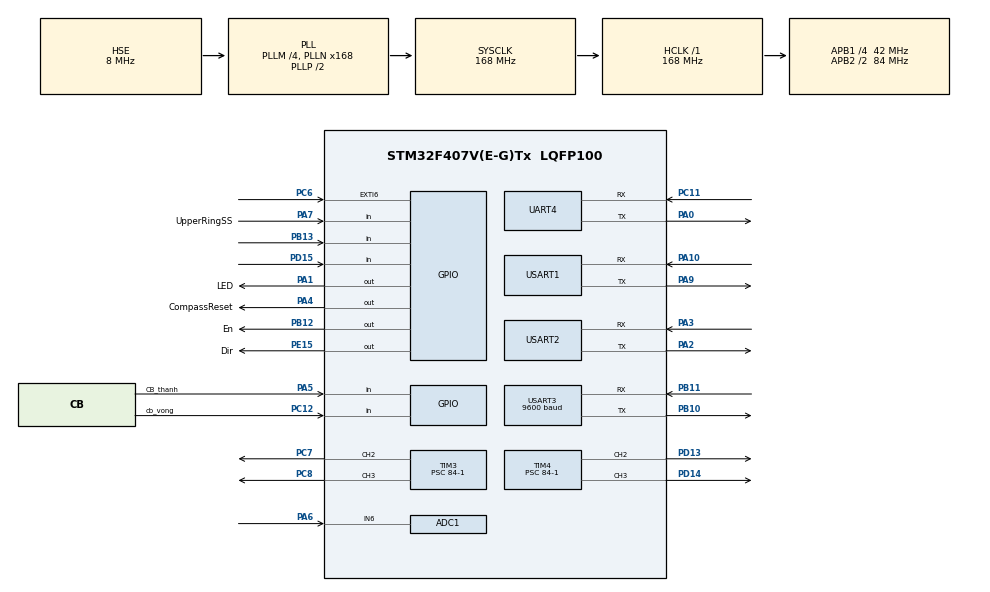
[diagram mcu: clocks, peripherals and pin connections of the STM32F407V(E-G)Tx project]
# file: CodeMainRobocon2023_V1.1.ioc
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ADC1.Channel-1\#ChannelRegularConversion=ADC_CHANNEL_6
ADC1.NbrOfConversionFlag=1
ADC1.Rank-1\#ChannelRegularConversion=1
ADC1.SamplingTime-1\#ChannelRegularConversion=ADC_SAMPLETIME_480CYCLES
ADC1.ScanConvMode=DISABLE
ADC1.master=1
Dma.ADC1.0.Direction=DMA_PERIPH_TO_MEMORY
Dma.ADC1.0.FIFOMode=DMA_FIFOMODE_DISABLE
Dma.ADC1.0.Instance=DMA2_Stream0
Dma.ADC1.0.MemDataAlignment=DMA_MDATAALIGN_HALFWORD
Dma.ADC1.0.MemInc=DMA_MINC_ENABLE
Dma.ADC1.0.Mode=DMA_CIRCULAR
Dma.ADC1.0.PeriphDataAlignment=DMA_PDATAALIGN_HALFWORD
Dma.ADC1.0.PeriphInc=DMA_PINC_DISABLE
Dma.ADC1.0.Priority=DMA_PRIORITY_LOW
Dma.Request0=ADC1
FREERTOS.Tasks01=defaultTask,0,128,StartDefaultTask,Default,NULL,Dynamic,NULL,NULL;myTask03,-3,128,TaskBlinkLed,Default,NULL,Dynamic,NULL,NULL;myTask04,0,128,TaskUART,Default,NULL,Dynamic,NULL,NULL;Task_setting,1,128,TaskXoayLaBan,Default,NULL,Dynamic,NULL,NULL
FREERTOS.configUSE_NEWLIB_REENTRANT=1
Mcu.Family=STM32F4
Mcu.Name=STM32F407V(E-G)Tx
Mcu.Package=LQFP100
NVIC.DMA2_Stream0_IRQn=true\:5\:0\:false\:false\:true\:true\:false\:true\:true
NVIC.EXTI9_5_IRQn=true\:5\:0\:false\:false\:true\:true\:true\:true\:true
NVIC.PriorityGroup=NVIC_PRIORITYGROUP_4
NVIC.TIM2_IRQn=true\:5\:0\:false\:false\:true\:true\:true\:true\:true
NVIC.TIM8_TRG_COM_TIM14_IRQn=true\:15\:0\:false\:false\:true\:false\:false\:true\:true
NVIC.TimeBase=TIM8_TRG_COM_TIM14_IRQn
NVIC.TimeBaseIP=TIM14
NVIC.USART1_IRQn=true\:5\:0\:false\:false\:true\:true\:true\:true\:true
NVIC.USART2_IRQn=true\:5\:0\:false\:false\:true\:true\:true\:true\:true
NVIC.USART3_IRQn=true\:5\:0\:false\:false\:true\:true\:true\:true\:true
PA0-WKUP.Mode=Asynchronous
PA0-WKUP.Signal=UART4_TX
PA1.GPIO_Label=LED
PA1.Signal=GPIO_Output
PA10.Mode=Asynchronous
PA10.Signal=USART1_RX
PA13.Mode=Serial_Wire
PA13.Signal=SYS_JTMS-SWDIO
PA14.Mode=Serial_Wire
PA14.Signal=SYS_JTCK-SWCLK
PA2.Mode=Asynchronous
PA2.Signal=USART2_TX
PA3.Mode=Asynchronous
PA3.Signal=USART2_RX
PA4.GPIO_Label=CompassReset
PA4.Signal=GPIO_Output
PA5.GPIO_Label=CB_thanh
PA5.GPIO_PuPd=GPIO_PULLUP
PA5.Signal=GPIO_Input
PA6.Signal=ADCx_IN6
PA7.GPIO_Label=UpperRingSS
PA7.GPIO_PuPd=GPIO_PULLUP
PA7.Signal=GPIO_Input
PA9.Mode=Asynchronous
PA9.Signal=USART1_TX
PB10.Mode=Asynchronous
PB10.Signal=USART3_TX
PB11.Mode=Asynchronous
PB11.Signal=USART3_RX
PB12.GPIO_Label=En
PB12.Signal=GPIO_Output
PB13.GPIO_PuPd=GPIO_PULLUP
PB13.Signal=GPIO_Input
PC11.Mode=Asynchronous
PC11.Signal=UART4_RX
PC12.GPIO_Label=cb_vong
PC12.GPIO_PuPd=GPIO_PULLUP
PC12.Signal=GPIO_Input
PC6.Signal=GPXTI6
PC7.Signal=S_TIM3_CH2
PC8.Signal=S_TIM3_CH3
PD13.Signal=S_TIM4_CH2
PD14.Signal=S_TIM4_CH3
PD15.Signal=GPIO_Input
PE15.GPIO_Label=Dir
PE15.Signal=GPIO_Output
PH0-OSC_IN.Mode=HSE-External-Oscillator
PH0-OSC_IN.Signal=RCC_OSC_IN
PH1-OSC_OUT.Mode=HSE-External-Oscillator
PH1-OSC_OUT.Signal=RCC_OSC_OUT
ProjectManager.HeapSize=0x200
ProjectManager.StackSize=0x400
ProjectManager.TargetToolchain=STM32CubeIDE
RCC.48MHZClocksFreq_Value=84000000
RCC.AHBFreq_Value=168000000
RCC.APB1CLKDivider=RCC_HCLK_DIV4
RCC.APB1Freq_Value=42000000
RCC.APB1TimFreq_Value=84000000
RCC.APB2CLKDivider=RCC_HCLK_DIV2
RCC.APB2Freq_Value=84000000
RCC.APB2TimFreq_Value=168000000
RCC.CortexFreq_Value=168000000
RCC.HCLKFreq_Value=168000000
RCC.HSE_VALUE=8000000
RCC.HSI_VALUE=16000000
RCC.LSE_VALUE=32768
RCC.PLLM=4
RCC.PLLN=168
RCC.PLLSourceVirtual=RCC_PLLSOURCE_HSE
RCC.SYSCLKFreq_VALUE=168000000
RCC.SYSCLKSource=RCC_SYSCLKSOURCE_PLLCLK
RCC.VCOOutputFreq_Value=336000000
SH.ADCx_IN6.0=ADC1_IN6,IN6
SH.S_TIM3_CH2.0=TIM3_CH2,PWM Generation2 CH2
SH.S_TIM3_CH3.0=TIM3_CH3,PWM Generation3 CH3
SH.S_TIM4_CH2.0=TIM4_CH2,PWM Generation2 CH2
SH.S_TIM4_CH3.0=TIM4_CH3,PWM Generation3 CH3
TIM2.Period=1000-1
TIM2.Prescaler=84-1
TIM3.Channel-PWM\ Generation2\ CH2=TIM_CHANNEL_2
TIM3.Channel-PWM\ Generation3\ CH3=TIM_CHANNEL_3
TIM3.Period=1000-1
TIM3.Prescaler=84-1
TIM4.Channel-PWM\ Generation2\ CH2=TIM_CHANNEL_2
TIM4.Channel-PWM\ Generation3\ CH3=TIM_CHANNEL_3
TIM4.Period=1000-1
TIM4.Prescaler=84-1
UART4.Parity=PARITY_ODD
UART4.VirtualMode=Asynchronous
UART4.WordLength=WORDLENGTH_9B
USART1.Parity=PARITY_EVEN
USART1.VirtualMode=VM_ASYNC
USART1.WordLength=WORDLENGTH_9B
USART2.VirtualMode=VM_ASYNC
USART3.BaudRate=9600
USART3.VirtualMode=VM_ASYNC
VP_FREERTOS_VS_CMSIS_V1.Mode=CMSIS_V1
VP_SYS_VS_tim14.Mode=TIM14
VP_TIM2_VS_ClockSourceINT.Mode=Internal
VP_TIM3_VS_ClockSourceINT.Mode=Internal
VP_TIM4_VS_ClockSourceINT.Mode=Internal
board=custom

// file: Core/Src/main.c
/* USER CODE BEGIN Header */
/**
  ******************************************************************************
  * @file           : main.c
  * @brief          : Main program body
  ******************************************************************************
  * @attention
  *
  * Copyright (c) 2023 STMicroelectronics.
  * All rights reserved.
  *
  * This software is licensed under terms that can be found in the LICENSE file
  * in the root directory of this software component.
  * If no LICENSE file comes with this software, it is provided AS-IS.
  *
  ******************************************************************************
  */
/* USER CODE END Header */
#include "main.h"
#include "cmsis_os.h"

/* USER CODE BEGIN Includes */
#include <stdlib.h>
/* USER CODE END Includes */

/* USER CODE BEGIN PD */
#define MOTORDC_CW 1
#define MOTORDC_CCW -1

/* USER CODE END PD */

ADC_HandleTypeDef hadc1;
DMA_HandleTypeDef hdma_adc1;

TIM_HandleTypeDef htim2;
TIM_HandleTypeDef htim3;
TIM_HandleTypeDef htim4;

UART_HandleTypeDef huart4;
UART_HandleTypeDef huart1;
UART_HandleTypeDef huart2;
UART_HandleTypeDef huart3;

osThreadId defaultTaskHandle;
osThreadId myTask03Handle;
osThreadId myTask04Handle;
osThreadId Task_settingHandle;
/* USER CODE BEGIN PV */

int goc_target;
int goc_hientai;
int forward;
uint8_t stop = 0;
int v_t;

int i,i1,dir3,dir2;
int goc_target2;
int e1;
int e2;
double pre_e2;
double up2,ui2,ui_p2,ud2,udf2,uf2_p;
double u2;
double kp2 = 0.05, kd2 = 2;
long t;
int RotatePid,Dir2;
uint16_t pwm;
/* USER CODE END PV */

void SystemClock_Config(void);
static void MX_GPIO_Init(void);
static void MX_DMA_Init(void);
static void MX_USART1_UART_Init(void);
static void MX_USART2_UART_Init(void);
static void MX_USART3_UART_Init(void);
static void MX_TIM2_Init(void);
static void MX_ADC1_Init(void);
static void MX_UART4_Init(void);
static void MX_TIM3_Init(void);
static void MX_TIM4_Init(void);
void StartDefaultTask(void const * argument);
void TaskBlinkLed(void const * argument);
void TaskUART(void const * argument);
void TaskXoayLaBan(void const * argument);

/* USER CODE BEGIN PFP */

/*G�?i trong  HAL_TIM_PeriodElapsedCallback*/
uint8_t fuzzy;
double alpha;
void Pid_cal(){
	e2 = goc_target2 - goc_hientai;
	if (fuzzy == 0){
		if(goc_target2>=0){
				if((e2<goc_target2*(1/5)))
					{alpha = 0.08;
					kp2 = 0.08;}
				else {
				alpha = 0.9;
				kp2 = 0.9;}
			}else{
				if((e2>goc_target2*(1/5)))
							{alpha = 0.08;
						kp2 = 0.08;}
						else {
						alpha = 0.9;
						kp2 = 0.9;}
			}
	}else if (fuzzy == 1){
		alpha = 0.08;
		kp2 = 0.05;
	}

	    up2 = kp2*e2;
		ud2 = kd2*(e2 - pre_e2)/0.001;
//		ui2 = ui_p2 + ki2*e2*0.001;
		udf2 = (1-alpha)*uf2_p+alpha*ud2;

//		if(ui2>8)ui2=8;
//		else if(ui2<-8)ui2=-8;

		pre_e2 = e2;
		uf2_p = udf2;
//		ui_p2 = ui2;

		if (u2>0)dir2=1;
		else if (u2<0)dir2 = -1;
		u2 = up2 + udf2;
		if (u2> 300)u2 =300;//180
		else if (u2<-300)u2=-300;//-180
		pwm = abs(u2);
		if((pwm < 28)&&(e2!=0)){//85
			pwm = 28;
		}
}
/* USER CODE END PFP */

/* USER CODE BEGIN 0 */

#define RFAddress 0x4A

typedef struct{
	int GamePadStatus;
	int CompassStatus;

//	int PushTime;
} stu_System;

stu_System System;

uint8_t UARTRX2_Buffer[10];
uint8_t UARTRX3_Buffer[9];
uint8_t DataTayGame[9];

int GocRobot;
int GocXoayTarget;
int GocXoayHienTai;

int ModeDangChay;

int DangThucThi;

int DaCapVong;

char ds[12];
uint8_t uart1_ds, ds_ind, ds_cnt, ds_flg;

void GetDataCompass(){
	GocRobot = ds[1] - 48;
	int x = 2;
	while((ds[x] >= 48) && (ds[x] <= 57)){
		GocRobot = GocRobot * 10;
		GocRobot += ds[x] -48;
		++x;
	}

	if(ds[0] == '-'){
		GocRobot = -GocRobot;
	}
}

//char UARTRX1_Buffer[17];
//char DataMain[17];

void HAL_UART_RxCpltCallback(UART_HandleTypeDef *huart){
//	if(huart->Instance == USART1){
//
//	}

	if(huart->Instance == USART2){
//		HAL_UART_Receive_IT(&huart2, (uint8_t*)UARTRX2_Buffer, 10);

		if(uart1_ds != '\n')
				ds[ds_ind++] = uart1_ds;
		else{
				GetDataCompass();
				ds_cnt = ds_ind;
				ds_flg = 1;
				ds_ind = 0;
		}
		HAL_UART_Receive_IT(&huart2, &uart1_ds, 1);
	}

	if(huart->Instance == USART3){
		HAL_UART_Receive_IT(&huart3, (uint8_t*)UARTRX3_Buffer, 9);
		int ViTriData = -1;
		for(int i = 0; i <= 8; ++i){
			if((UARTRX3_Buffer[i] == (RFAddress << 1 | 0)) || (UARTRX3_Buffer[i] == (RFAddress << 1 | 1))){
				ViTriData = i;
			}
		}
		if(ViTriData != -1){
			int cnt = 0;
			while(cnt < 9){
				DataTayGame[cnt] = UARTRX3_Buffer[ViTriData];
				++ViTriData;
				if(ViTriData == 9){
					ViTriData = 0;
				}
				++cnt;
			}
		}
	}
}

uint8_t UART1TxData[17];
/*Hàm truy�?n data xuống cho các board driver*/
int ControlDriver(uint8_t Mode1, int Dir1, uint16_t Speed1, uint16_t Rotate1, uint8_t Mode2, int Dir2, uint16_t Speed2, uint16_t Rotate2, uint8_t Mode3, int Dir3, uint16_t Speed3, uint16_t Rotate3){
	UART1TxData[0] = 149;

	if(Dir1 == -1){
		UART1TxData[1] = (Mode1 & 3) << 1;
	}
	else if(Dir1 == 1){
		UART1TxData[1] = (Mode1 & 3) << 1 | 1;
	}

	UART1TxData[2] = Speed1 >> 8;
	UART1TxData[3] = Speed1;

	UART1TxData[4] = Rotate1 >> 8;
	UART1TxData[5] = Rotate1;

	if(Dir2 == -1){
		UART1TxData[6] = (Mode2 & 3) << 1;
	}
	else if(Dir2 == 1){
		UART1TxData[6] = (Mode2 & 3) << 1 | 1;
	}

	UART1TxData[7] = Speed2 >> 8;
	UART1TxData[8] = Speed2;

	UART1TxData[9] = Rotate2 >> 8;
	UART1TxData[10] = Rotate2;

	if(Dir3 == -1){
		UART1TxData[11] = (Mode3 & 3) << 1;
	}
	else if(Dir3 == 1){
		UART1TxData[11] = (Mode3 & 3) << 1 | 1;
	}

	UART1TxData[12] = Speed3 >> 8;
	UART1TxData[13] = Speed3;

	UART1TxData[14] = Rotate3 >> 8;
	UART1TxData[15] = Rotate3;

	UART1TxData[16] = 10;

	if(HAL_UART_Transmit(&huart1, (uint8_t *) UART1TxData, 17, 1000) != HAL_OK){
		osDelay(1);
		return 0;
	}
	osDelay(1);
	return 1;
}
uint16_t a[10];

//#define YeuCauBanCotS1 24
//
//int ChoPhepBan, ModeBan;

uint8_t DataGun[3];
int ControlGun(uint8_t Mode){
	DataGun[0] = 149;
	DataGun[1] = Mode;
	DataGun[2] = 10;

	if(HAL_UART_Transmit(&huart4, (uint8_t *) DataGun, 3, 1000) != HAL_OK){
		osDelay(1);
		return 0;
	}
	osDelay(1);
	return 1;
}
/* USER CODE END 0 */

int main(void)
{

  /* MCU Configuration--------------------------------------------------------*/

  /* Reset of all peripherals, Initializes the Flash interface and the Systick. */
  HAL_Init();

  /* USER CODE BEGIN Init */
  HAL_Delay(5000);
  GocRobot = -999;

  /* USER CODE END Init */

  /* Configure the system clock */
  SystemClock_Config();

  /* Initialize all configured peripherals */
  MX_GPIO_Init();
  MX_DMA_Init();
  MX_USART1_UART_Init();
  MX_USART2_UART_Init();
  MX_USART3_UART_Init();
  MX_TIM2_Init();
  MX_ADC1_Init();
  MX_UART4_Init();
  MX_TIM3_Init();
  MX_TIM4_Init();
  /* USER CODE BEGIN 2 */
  HAL_TIM_Base_Start_IT(&htim2);
  HAL_TIM_PWM_Start(&htim3,TIM_CHANNEL_2);
  HAL_TIM_PWM_Start(&htim3,TIM_CHANNEL_3);
  HAL_TIM_PWM_Start(&htim4,TIM_CHANNEL_2);
  HAL_TIM_PWM_Start(&htim4,TIM_CHANNEL_3);
  HAL_UART_Receive_IT(&huart2, &uart1_ds, 1);
  //Uart3 Connect to HC-12
  HAL_UART_Receive_IT(&huart3, (uint8_t*)UARTRX3_Buffer, 9);

//  HAL_Delay(100);
//
// while(1){
//	  if(HAL_GPIO_ReadPin(CompassReady_GPIO_Port, CompassReady_Pin)){
//		  HAL_GPIO_WritePin(LED_GPIO_Port, LED_Pin, GPIO_PIN_SET);
//		  System.CompassStatus = 1;
//		  break;
//	  }
//	  HAL_GPIO_WritePin(LED_GPIO_Port, LED_Pin, GPIO_PIN_RESET);
//	  HAL_Delay(200);
//	  HAL_GPIO_WritePin(LED_GPIO_Port, LED_Pin, GPIO_PIN_SET);
//	  HAL_Delay(800);
// }

  /* USER CODE END 2 */

  /* Create the thread(s) */
  /* definition and creation of defaultTask */
  osThreadDef(defaultTask, StartDefaultTask, osPriorityNormal, 0, 128);
  defaultTaskHandle = osThreadCreate(osThread(defaultTask), NULL);

  /* definition and creation of myTask03 */
  osThreadDef(myTask03, TaskBlinkLed, osPriorityIdle, 0, 128);
  myTask03Handle = osThreadCreate(osThread(myTask03), NULL);

  /* definition and creation of myTask04 */
  osThreadDef(myTask04, TaskUART, osPriorityNormal, 0, 128);
  myTask04Handle = osThreadCreate(osThread(myTask04), NULL);

  /* definition and creation of Task_setting */
  osThreadDef(Task_setting, TaskXoayLaBan, osPriorityAboveNormal, 0, 128);
  Task_settingHandle = osThreadCreate(osThread(Task_setting), NULL);

  /* Start scheduler */
  osKernelStart();

  /* We should never get here as control is now taken by the scheduler */
  /* Infinite loop */
  /* USER CODE BEGIN WHILE */
//  ControlDriver(0, 0, 0, 0, 0);

  while (1)
  {

    /* USER CODE END WHILE */

  }
}

void SystemClock_Config(void)
{
  RCC_OscInitTypeDef RCC_OscInitStruct = {0};
  RCC_ClkInitTypeDef RCC_ClkInitStruct = {0};

  /** Configure the main internal regulator output voltage
  */
  __HAL_RCC_PWR_CLK_ENABLE();
  __HAL_PWR_VOLTAGESCALING_CONFIG(PWR_REGULATOR_VOLTAGE_SCALE1);

  /** Initializes the RCC Oscillators according to the specified parameters
  * in the RCC_OscInitTypeDef structure.
  */
  RCC_OscInitStruct.OscillatorType = RCC_OSCILLATORTYPE_HSE;
  RCC_OscInitStruct.HSEState = RCC_HSE_ON;
  RCC_OscInitStruct.PLL.PLLState = RCC_PLL_ON;
  RCC_OscInitStruct.PLL.PLLSource = RCC_PLLSOURCE_HSE;
  RCC_OscInitStruct.PLL.PLLM = 4;
  RCC_OscInitStruct.PLL.PLLN = 168;
  RCC_OscInitStruct.PLL.PLLP = RCC_PLLP_DIV2;
  RCC_OscInitStruct.PLL.PLLQ = 4;
  if (HAL_RCC_OscConfig(&RCC_OscInitStruct) != HAL_OK)
  {
    Error_Handler();
  }

  /** Initializes the CPU, AHB and APB buses clocks
  */
  RCC_ClkInitStruct.ClockType = RCC_CLOCKTYPE_HCLK|RCC_CLOCKTYPE_SYSCLK
                              |RCC_CLOCKTYPE_PCLK1|RCC_CLOCKTYPE_PCLK2;
  RCC_ClkInitStruct.SYSCLKSource = RCC_SYSCLKSOURCE_PLLCLK;
  RCC_ClkInitStruct.AHBCLKDivider = RCC_SYSCLK_DIV1;
  RCC_ClkInitStruct.APB1CLKDivider = RCC_HCLK_DIV4;
  RCC_ClkInitStruct.APB2CLKDivider = RCC_HCLK_DIV2;

  if (HAL_RCC_ClockConfig(&RCC_ClkInitStruct, FLASH_LATENCY_5) != HAL_OK)
  {
    Error_Handler();
  }
}

static void MX_ADC1_Init(void)
{

  ADC_ChannelConfTypeDef sConfig = {0};

  /** Configure the global features of the ADC (Clock, Resolution, Data Alignment and number of conversion)
  */
  hadc1.Instance = ADC1;
  hadc1.Init.ClockPrescaler = ADC_CLOCK_SYNC_PCLK_DIV4;
  hadc1.Init.Resolution = ADC_RESOLUTION_12B;
  hadc1.Init.ScanConvMode = DISABLE;
  hadc1.Init.ContinuousConvMode = DISABLE;
  hadc1.Init.DiscontinuousConvMode = DISABLE;
  hadc1.Init.ExternalTrigConvEdge = ADC_EXTERNALTRIGCONVEDGE_NONE;
  hadc1.Init.ExternalTrigConv = ADC_SOFTWARE_START;
  hadc1.Init.DataAlign = ADC_DATAALIGN_RIGHT;
  hadc1.Init.NbrOfConversion = 1;
  hadc1.Init.DMAContinuousRequests = DISABLE;
  hadc1.Init.EOCSelection = ADC_EOC_SINGLE_CONV;
  if (HAL_ADC_Init(&hadc1) != HAL_OK)
  {
    Error_Handler();
  }

  /** Configure for the selected ADC regular channel its corresponding rank in the sequencer and its sample time.
  */
  sConfig.Channel = ADC_CHANNEL_6;
  sConfig.Rank = 1;
  sConfig.SamplingTime = ADC_SAMPLETIME_480CYCLES;
  if (HAL_ADC_ConfigChannel(&hadc1, &sConfig) != HAL_OK)
  {
    Error_Handler();
  }

}

static void MX_TIM2_Init(void)
{

  TIM_ClockConfigTypeDef sClockSourceConfig = {0};
  TIM_MasterConfigTypeDef sMasterConfig = {0};

  htim2.Instance = TIM2;
  htim2.Init.Prescaler = 84-1;
  htim2.Init.CounterMode = TIM_COUNTERMODE_UP;
  htim2.Init.Period = 1000-1;
  htim2.Init.ClockDivision = TIM_CLOCKDIVISION_DIV1;
  htim2.Init.AutoReloadPreload = TIM_AUTORELOAD_PRELOAD_DISABLE;
  if (HAL_TIM_Base_Init(&htim2) != HAL_OK)
  {
    Error_Handler();
  }
  sClockSourceConfig.ClockSource = TIM_CLOCKSOURCE_INTERNAL;
  if (HAL_TIM_ConfigClockSource(&htim2, &sClockSourceConfig) != HAL_OK)
  {
    Error_Handler();
  }
  sMasterConfig.MasterOutputTrigger = TIM_TRGO_RESET;
  sMasterConfig.MasterSlaveMode = TIM_MASTERSLAVEMODE_DISABLE;
  if (HAL_TIMEx_MasterConfigSynchronization(&htim2, &sMasterConfig) != HAL_OK)
  {
    Error_Handler();
  }

}

static void MX_TIM3_Init(void)
{

  TIM_ClockConfigTypeDef sClockSourceConfig = {0};
  TIM_MasterConfigTypeDef sMasterConfig = {0};
  TIM_OC_InitTypeDef sConfigOC = {0};

  htim3.Instance = TIM3;
  htim3.Init.Prescaler = 84-1;
  htim3.Init.CounterMode = TIM_COUNTERMODE_UP;
  htim3.Init.Period = 1000-1;
  htim3.Init.ClockDivision = TIM_CLOCKDIVISION_DIV1;
  htim3.Init.AutoReloadPreload = TIM_AUTORELOAD_PRELOAD_DISABLE;
  if (HAL_TIM_Base_Init(&htim3) != HAL_OK)
  {
    Error_Handler();
  }
  sClockSourceConfig.ClockSource = TIM_CLOCKSOURCE_INTERNAL;
  if (HAL_TIM_ConfigClockSource(&htim3, &sClockSourceConfig) != HAL_OK)
  {
    Error_Handler();
  }
  if (HAL_TIM_PWM_Init(&htim3) != HAL_OK)
  {
    Error_Handler();
  }
  sMasterConfig.MasterOutputTrigger = TIM_TRGO_RESET;
  sMasterConfig.MasterSlaveMode = TIM_MASTERSLAVEMODE_DISABLE;
  if (HAL_TIMEx_MasterConfigSynchronization(&htim3, &sMasterConfig) != HAL_OK)
  {
    Error_Handler();
  }
  sConfigOC.OCMode = TIM_OCMODE_PWM1;
  sConfigOC.Pulse = 0;
  sConfigOC.OCPolarity = TIM_OCPOLARITY_HIGH;
  sConfigOC.OCFastMode = TIM_OCFAST_DISABLE;
  if (HAL_TIM_PWM_ConfigChannel(&htim3, &sConfigOC, TIM_CHANNEL_2) != HAL_OK)
  {
    Error_Handler();
  }
  if (HAL_TIM_PWM_ConfigChannel(&htim3, &sConfigOC, TIM_CHANNEL_3) != HAL_OK)
  {
    Error_Handler();
  }
  HAL_TIM_MspPostInit(&htim3);

}

static void MX_TIM4_Init(void)
{

  TIM_ClockConfigTypeDef sClockSourceConfig = {0};
  TIM_MasterConfigTypeDef sMasterConfig = {0};
  TIM_OC_InitTypeDef sConfigOC = {0};

  htim4.Instance = TIM4;
  htim4.Init.Prescaler = 84-1;
  htim4.Init.CounterMode = TIM_COUNTERMODE_UP;
  htim4.Init.Period = 1000-1;
  htim4.Init.ClockDivision = TIM_CLOCKDIVISION_DIV1;
  htim4.Init.AutoReloadPreload = TIM_AUTORELOAD_PRELOAD_DISABLE;
  if (HAL_TIM_Base_Init(&htim4) != HAL_OK)
  {
    Error_Handler();
  }
  sClockSourceConfig.ClockSource = TIM_CLOCKSOURCE_INTERNAL;
  if (HAL_TIM_ConfigClockSource(&htim4, &sClockSourceConfig) != HAL_OK)
  {
    Error_Handler();
  }
  if (HAL_TIM_PWM_Init(&htim4) != HAL_OK)
  {
    Error_Handler();
  }
  sMasterConfig.MasterOutputTrigger = TIM_TRGO_RESET;
  sMasterConfig.MasterSlaveMode = TIM_MASTERSLAVEMODE_DISABLE;
  if (HAL_TIMEx_MasterConfigSynchronization(&htim4, &sMasterConfig) != HAL_OK)
  {
    Error_Handler();
  }
  sConfigOC.OCMode = TIM_OCMODE_PWM1;
  sConfigOC.Pulse = 0;
  sConfigOC.OCPolarity = TIM_OCPOLARITY_HIGH;
  sConfigOC.OCFastMode = TIM_OCFAST_DISABLE;
  if (HAL_TIM_PWM_ConfigChannel(&htim4, &sConfigOC, TIM_CHANNEL_2) != HAL_OK)
  {
    Error_Handler();
  }
  if (HAL_TIM_PWM_ConfigChannel(&htim4, &sConfigOC, TIM_CHANNEL_3) != HAL_OK)
  {
    Error_Handler();
  }
  HAL_TIM_MspPostInit(&htim4);

}

static void MX_UART4_Init(void)
{

  huart4.Instance = UART4;
  huart4.Init.BaudRate = 115200;
  huart4.Init.WordLength = UART_WORDLENGTH_9B;
  huart4.Init.StopBits = UART_STOPBITS_1;
  huart4.Init.Parity = UART_PARITY_ODD;
  huart4.Init.Mode = UART_MODE_TX_RX;
  huart4.Init.HwFlowCtl = UART_HWCONTROL_NONE;
  huart4.Init.OverSampling = UART_OVERSAMPLING_16;
  if (HAL_UART_Init(&huart4) != HAL_OK)
  {
    Error_Handler();
  }

}

static void MX_USART1_UART_Init(void)
{

  huart1.Instance = USART1;
  huart1.Init.BaudRate = 115200;
  huart1.Init.WordLength = UART_WORDLENGTH_9B;
  huart1.Init.StopBits = UART_STOPBITS_1;
  huart1.Init.Parity = UART_PARITY_EVEN;
  huart1.Init.Mode = UART_MODE_TX_RX;
  huart1.Init.HwFlowCtl = UART_HWCONTROL_NONE;
  huart1.Init.OverSampling = UART_OVERSAMPLING_16;
  if (HAL_UART_Init(&huart1) != HAL_OK)
  {
    Error_Handler();
  }

}

static void MX_USART2_UART_Init(void)
{

  huart2.Instance = USART2;
  huart2.Init.BaudRate = 115200;
  huart2.Init.WordLength = UART_WORDLENGTH_8B;
  huart2.Init.StopBits = UART_STOPBITS_1;
  huart2.Init.Parity = UART_PARITY_NONE;
  huart2.Init.Mode = UART_MODE_TX_RX;
  huart2.Init.HwFlowCtl = UART_HWCONTROL_NONE;
  huart2.Init.OverSampling = UART_OVERSAMPLING_16;
  if (HAL_UART_Init(&huart2) != HAL_OK)
  {
    Error_Handler();
  }

}

static void MX_USART3_UART_Init(void)
{

  huart3.Instance = USART3;
  huart3.Init.BaudRate = 9600;
  huart3.Init.WordLength = UART_WORDLENGTH_8B;
  huart3.Init.StopBits = UART_STOPBITS_1;
  huart3.Init.Parity = UART_PARITY_NONE;
  huart3.Init.Mode = UART_MODE_TX_RX;
  huart3.Init.HwFlowCtl = UART_HWCONTROL_NONE;
  huart3.Init.OverSampling = UART_OVERSAMPLING_16;
  if (HAL_UART_Init(&huart3) != HAL_OK)
  {
    Error_Handler();
  }

}

static void MX_DMA_Init(void)
{

  /* DMA controller clock enable */
  __HAL_RCC_DMA2_CLK_ENABLE();

  /* DMA interrupt init */
  /* DMA2_Stream0_IRQn interrupt configuration */
  HAL_NVIC_SetPriority(DMA2_Stream0_IRQn, 5, 0);
  HAL_NVIC_EnableIRQ(DMA2_Stream0_IRQn);

}

static void MX_GPIO_Init(void)
{
  GPIO_InitTypeDef GPIO_InitStruct = {0};

  /* GPIO Ports Clock Enable */
  __HAL_RCC_GPIOH_CLK_ENABLE();
  __HAL_RCC_GPIOA_CLK_ENABLE();
  __HAL_RCC_GPIOE_CLK_ENABLE();
  __HAL_RCC_GPIOB_CLK_ENABLE();
  __HAL_RCC_GPIOD_CLK_ENABLE();
  __HAL_RCC_GPIOC_CLK_ENABLE();

  /*Configure GPIO pin Output Level */
  HAL_GPIO_WritePin(GPIOA, LED_Pin|CompassReset_Pin, GPIO_PIN_RESET);

  /*Configure GPIO pin Output Level */
  HAL_GPIO_WritePin(Dir_GPIO_Port, Dir_Pin, GPIO_PIN_RESET);

  /*Configure GPIO pin Output Level */
  HAL_GPIO_WritePin(En_GPIO_Port, En_Pin, GPIO_PIN_RESET);

  /*Configure GPIO pins : LED_Pin CompassReset_Pin */
  GPIO_InitStruct.Pin = LED_Pin|CompassReset_Pin;
  GPIO_InitStruct.Mode = GPIO_MODE_OUTPUT_PP;
  GPIO_InitStruct.Pull = GPIO_NOPULL;
  GPIO_InitStruct.Speed = GPIO_SPEED_FREQ_LOW;
  HAL_GPIO_Init(GPIOA, &GPIO_InitStruct);

  /*Configure GPIO pins : CB_thanh_Pin UpperRingSS_Pin */
  GPIO_InitStruct.Pin = CB_thanh_Pin|UpperRingSS_Pin;
  GPIO_InitStruct.Mode = GPIO_MODE_INPUT;
  GPIO_InitStruct.Pull = GPIO_PULLUP;
  HAL_GPIO_Init(GPIOA, &GPIO_InitStruct);

  /*Configure GPIO pin : Dir_Pin */
  GPIO_InitStruct.Pin = Dir_Pin;
  GPIO_InitStruct.Mode = GPIO_MODE_OUTPUT_PP;
  GPIO_InitStruct.Pull = GPIO_NOPULL;
  GPIO_InitStruct.Speed = GPIO_SPEED_FREQ_LOW;
  HAL_GPIO_Init(Dir_GPIO_Port, &GPIO_InitStruct);

  /*Configure GPIO pin : En_Pin */
  GPIO_InitStruct.Pin = En_Pin;
  GPIO_InitStruct.Mode = GPIO_MODE_OUTPUT_PP;
  GPIO_InitStruct.Pull = GPIO_NOPULL;
  GPIO_InitStruct.Speed = GPIO_SPEED_FREQ_LOW;
  HAL_GPIO_Init(En_GPIO_Port, &GPIO_InitStruct);

  /*Configure GPIO pin : PB13 */
  GPIO_InitStruct.Pin = GPIO_PIN_13;
  GPIO_InitStruct.Mode = GPIO_MODE_INPUT;
  GPIO_InitStruct.Pull = GPIO_PULLUP;
  HAL_GPIO_Init(GPIOB, &GPIO_InitStruct);

  /*Configure GPIO pin : PD15 */
  GPIO_InitStruct.Pin = GPIO_PIN_15;
  GPIO_InitStruct.Mode = GPIO_MODE_INPUT;
  GPIO_InitStruct.Pull = GPIO_NOPULL;
  HAL_GPIO_Init(GPIOD, &GPIO_InitStruct);

  /*Configure GPIO pin : PC6 */
  GPIO_InitStruct.Pin = GPIO_PIN_6;
  GPIO_InitStruct.Mode = GPIO_MODE_IT_RISING;
  GPIO_InitStruct.Pull = GPIO_NOPULL;
  HAL_GPIO_Init(GPIOC, &GPIO_InitStruct);

  /*Configure GPIO pin : cb_vong_Pin */
  GPIO_InitStruct.Pin = cb_vong_Pin;
  GPIO_InitStruct.Mode = GPIO_MODE_INPUT;
  GPIO_InitStruct.Pull = GPIO_PULLUP;
  HAL_GPIO_Init(cb_vong_GPIO_Port, &GPIO_InitStruct);

  /* EXTI interrupt init*/
  HAL_NVIC_SetPriority(EXTI9_5_IRQn, 5, 0);
  HAL_NVIC_EnableIRQ(EXTI9_5_IRQn);

}

/* USER CODE BEGIN 4 */
uint8_t DangThucThi2;
int pre_t = -88;
//void HAL_GPIO_EXTI_Callback(uint16_t GPIO_Pin)
//{
//  if(GPIO_Pin == cb_vong_Pin){
//	  int cambien;
//  }
//}
void batthanh(void){
	v_t = 55;
	forward = 2;

	while(1){

		if(HAL_GPIO_ReadPin(CB_thanh_GPIO_Port, CB_thanh_Pin)==0){
			v_t = 0;
			osDelay(1000);

			forward = 0;
			RotatePid = 0;
			ControlDriver(0, 1, 0, 600, 0, 1, 0, 600, 0, 1, 0, 600);
			return;
		}
		osDelay(1);
	}
}
uint8_t antinoise;
void batcot(void){
	while(1){
		if(DataTayGame[2] == 128 && !DangThucThi2){
				pre_t += 2;
				DangThucThi2 =1;
				}
				if(DataTayGame[2] == 32 && !DangThucThi2){
				pre_t -= 2;
				DangThucThi2 =1;
				}
				if(DataTayGame[2] == 0){
				DangThucThi2 = 0;
				}
				goc_target = pre_t;
			if(a[0]>2000&&a[0]<3300){
				antinoise ++;
			}
				if(antinoise > 20){
					v_t = 0;
					osDelay(1000);
					forward = 0;
					RotatePid = 0;

					return;
					}
			}

			osDelay(1);
}

void batvong(void){
	while(1){
		if(HAL_GPIO_ReadPin(cb_vong_GPIO_Port, cb_vong_Pin)==0){
			v_t = 0;
			osDelay(1000);
			forward = 0;
			RotatePid = 0;
			return;
		}
	}
}
int gun;
double e9,pre_e9;
double current_value9;
int POS_target = 0;
double deltaT9 = 0.001; // Th�?i gian lấy mẫu

double kp9 = 1.5,ki9 =0.0001, kd9 =0.5;

// Khai biến khâu tỉ lệ
double up9;

// khai biến khâu tích phân
double ui9,ui_p9;
int ui_above_limit9=0.3,ui_under_limit9=-0.3;

// khai biến khâu đạo hàm
double ud9,udf9,udf_p9;
double alpha9 = 0.4; // Hệ số bộ l�?c

// khai biến output
double u9;
int u_above_limit9 = 1000,u_under_limit9 = -1000;
int dir9,pwm9,pwm_movable9= 600;

uint8_t cambien;
int count1;
void HAL_GPIO_EXTI_Callback(uint16_t GPIO_Pin)
{
	//Encoder DC-SPEED
	if (GPIO_Pin == GPIO_PIN_6){
		if (HAL_GPIO_ReadPin(GPIOD,GPIO_PIN_15) == 0) {count1++;}
		else {count1--;}
	}
}
void PID(){

	// khoảng cần đáp ứng của hệ thống
	e9 = POS_target - count1;

	// Khâu tỉ lệ
	up9 = kp9*e9;

	// khâu tích phân
	ui9 = ui_p9 + ki9*e9*deltaT9;
	// Bão hòa khâu tích phân
	if (ui9>ui_above_limit9)ui9=ui_above_limit9;
	else if(ui9<ui_under_limit9)ui9=ui_under_limit9;

	// khâu đạo hàm
	ud9 = kd9*(e9 - pre_e9)/deltaT9;
	// L�?c thông thấp khâu đạo hàm
	udf9 = (1-alpha)*udf_p9+alpha9*ud9;

	pre_e9 = e9;
	ui_p9 = ui9;
	udf_p9 = udf9;

	// Tổng out put
	u9 = up9 + udf9+ui9;
	// Bão hòa output
	if(u9>u_above_limit9)u9 = u_above_limit9;
	else if (u9<u_under_limit9)u9=u_under_limit9;

	// Xác định chi�?u:
	if (u9>0)dir9=-1;
	else if(u9<0)dir9 = 1;
	else dir9 = 0;

	// Xuất giá trị pwm
	pwm9 = abs(u9);
	if ((pwm9<pwm_movable9)&&(e9!=0)){
		pwm9 = pwm_movable9;

	}
}

void ControlMotor(int ChannelA, int ChannelB){
	__HAL_TIM_SET_COMPARE(&htim4, TIM_CHANNEL_2, ChannelA);
	__HAL_TIM_SET_COMPARE(&htim4, TIM_CHANNEL_3, ChannelB);
}
//Ham cap xung cho dong co
void driveSpeed(int dir , int pwmVal){
	if (dir == -1){
		ControlMotor(pwmVal,0);
	}
	else if (dir == 1){
		ControlMotor(0,pwmVal);
	}
	else{
		ControlMotor(0,0);
	}
}

int pwmVal, up, manual_rpm,s1,s2;
int currentAngle; // goc hien tai
int numstep; //so buoc can di
int pre_angle;
int angle;//goc can huong toi 810
int break_step;
int n, x;

void driveSpeed_tail(int dir , int pwmVal){
	if (dir == MOTORDC_CCW){
		__HAL_TIM_SET_COMPARE(&htim3, TIM_CHANNEL_3, pwmVal);
		__HAL_TIM_SET_COMPARE(&htim3, TIM_CHANNEL_2, 0);
	}
	else if (dir == MOTORDC_CW){
		__HAL_TIM_SET_COMPARE(&htim3, TIM_CHANNEL_3, 0);
		__HAL_TIM_SET_COMPARE(&htim3, TIM_CHANNEL_2, pwmVal);
	}
	else{
		__HAL_TIM_SET_COMPARE(&htim3, TIM_CHANNEL_3, 0);
		__HAL_TIM_SET_COMPARE(&htim3, TIM_CHANNEL_2, 0);
	}
}

void driveStep(){
	int n =0;
	// 900
	while(currentAngle != angle){
		if( currentAngle < angle){
			HAL_GPIO_WritePin(Dir_GPIO_Port, Dir_Pin, 0);
			n = angle - currentAngle;
		}
		else if( currentAngle > angle){
			HAL_GPIO_WritePin(Dir_GPIO_Port, Dir_Pin, 1);
			n = currentAngle - angle;
		}
		for(int x = 0; x < n; x++) {
			HAL_GPIO_WritePin(En_GPIO_Port, En_Pin, 1);
			osDelay(1);
			HAL_GPIO_WritePin(En_GPIO_Port, En_Pin, 0);
			osDelay(1);
		}

		currentAngle = angle;
	}
}

uint8_t moveup;
uint8_t gunReady;
uint16_t max_speed = 400;
void upHandle(void){
	driveSpeed_tail(MOTORDC_CW, max_speed);
	while(1){
	  if(!HAL_GPIO_ReadPin(UpperRingSS_GPIO_Port, UpperRingSS_Pin)){
		  driveSpeed_tail(1, 0);
		  osDelay(100);
		  up = 0;
		  moveup = 1;
		  break;
	  }
	}
}
void uphalf(void){
	driveSpeed_tail(MOTORDC_CW, max_speed);
	osDelay(4000);
	driveSpeed_tail(MOTORDC_CW, 0);
	up = 0;

}
void downHandle(void){
	driveSpeed_tail(MOTORDC_CCW,max_speed);
	while(1)
		if(HAL_GPIO_ReadPin(GPIOB, GPIO_PIN_13) == 1){
			driveSpeed_tail(1,0);
			up = 0;
			break;
		}

}

void loadingProcess(void){
	upHandle();
	if(moveup){
		angle = 950;
		driveStep();
		moveup = 0;
		angle  = 0;
		driveStep();
		gunReady = 1;
	}
}
uint8_t step;
uint8_t trangthai,trangthai2,switchmode;

/* USER CODE END 4 */

int ii;
void StartDefaultTask(void const * argument)
{
  /* USER CODE BEGIN 5 */
  /* Infinite loop */
  for(;;)
  {
//	  HAL_ADC_Start_DMA(&hadc1, (uint32_t*)a, 1);
//	  osDelay(5);
cambien = HAL_GPIO_ReadPin(cb_vong_GPIO_Port, cb_vong_Pin);

		if(DataTayGame[1]== 128&&DataTayGame[2]==0){
			RotatePid = 0;
			forward = 0;
			ControlDriver(0, 1, 0, 400, 0, 1, 0, 200, 0, 1, 0, 300);
			osDelay(1000);
			loadingProcess();

			if(gunReady){
			ControlGun(1);
			gunReady = 0;
			}
		}
		if(DataTayGame[1]== 64&&DataTayGame[2]==0){
			RotatePid = 0;
			forward = 0;
			ControlDriver(0, 1, 0, 400, 0, 1, 0, 200, 0, 1, 0, 300);
			osDelay(1000);
			loadingProcess();
			RotatePid = 0;
			if(gunReady){
			ControlGun(2);
			gunReady = 0;
			}
		}
		if(DataTayGame[1]== 32&&DataTayGame[2]==0){
			RotatePid = 0;
			forward = 0;
			ControlDriver(0, 1, 0, 400, 0, 1, 0, 200, 0, 1, 0, 300);
			osDelay(1000);
			loadingProcess();
			RotatePid = 0;
			if(gunReady){
			ControlGun(3);
			gunReady = 0;
			}
		}if(DataTayGame[1]== 4&&DataTayGame[2]==0){
			RotatePid = 0;
			forward = 0;
			ControlDriver(0, 1, 0, 400, 0, 1, 0, 200, 0, 1, 0, 300);
			osDelay(1000);
			loadingProcess();
			RotatePid = 0;
			if(gunReady){
			ControlGun(6);
			gunReady = 0;
			}
		}

		if(DataTayGame[1]== 0&&DataTayGame[2]==64){
			osDelay(20);
			if(DataTayGame[1]== 0&&DataTayGame[2]==64){
			switchmode += 1;
			fuzzy = 0;
			if (switchmode >3)switchmode = 0;
			while((DataTayGame[1]== 0&&DataTayGame[2]==64)){}
			}
		}

//lmao
	  /*Nhấn nút F1*/
	  if(DataTayGame[7] == 128 && !DangThucThi){
		  step = 0;
		  if(trangthai == 0){
			  up = 2;
		  }
		  else if(trangthai == 1){
			  up = 3;
			  forward = 0;
			  RotatePid = 0;
			  ControlDriver(0, 1, 0, 300, 0, 1, 0, 300, 0, 1, 0, 300);
			  osDelay(4500);

			  // #2 chay thang trong 3.8s
			  goc_target = 6;
			  forward = 1;
			  v_t = 140;
			  osDelay(8200);
			  // #3 thang gap trong 550ms
			  v_t = 0;
			  osDelay(500);
			  forward = 0;
			  RotatePid = 0;
			  // #4 tha troi trong 3s
			  ControlDriver(0, 1, 0, (300-2*e1), 0, 1, 0, (300-2*e1), 0, 1, 0, (300+2*e1));
			  osDelay(1000);
			  ControlDriver(0, 1, 0, (300), 0, 1, 0, (300), 0, 1, 0, (300));
			  osDelay(2000);
			  // #5 quay 20 do
			  ControlDriver(0, 1, 0, (200), 0, 1, 0, (400), 0, 1, 0, (600));
			  osDelay(2000);
			  goc_target2 = -45;//-30

			  RotatePid = 1;
		  }
		  else if (trangthai == 2){

		  			  forward = 0;
		  			  RotatePid = 0;
		  			  POS_target = -500;

		  		  }
		  else if (trangthai == 3){

			  forward = 0;
			  RotatePid = 0;
			  up = 2;

		  }
		  else if (trangthai == 4){
			  forward = 0;
			  RotatePid = 0;
			  ControlDriver(0, 1, 0, 300, 0, 1, 0, 300, 0, 1, 0, 300);
			  osDelay(1000);
			  goc_target = GocRobot;//-30
			  forward = 1;
			  v_t = 20;
			  batvong();
		      POS_target = -40;
		      osDelay(1000);
		      forward = 1;
		      v_t = 25;
		      osDelay(1000);
		      v_t = 0;

		  }
		  else if (trangthai == 5){
			  up = 3;
		  }
		  trangthai++;
		  DangThucThi = 1;
	  }

////
	  /*Nhấn nút F2*/
	  if(DataTayGame[7] == 64 && !DangThucThi){
		  if(trangthai2==0){
			  POS_target = count1;
			step = 1;
			//#1 quay goc on dinh banh xe trong 2s
			forward = 0;
			RotatePid = 0;
			ControlDriver(0, 1, 0, 200, 0, -1, 0, 400, 0, 1, 0, 600);
			osDelay(1000);
			//#2 quay goc trong 8s
			goc_target2 = -90;
			RotatePid = 1;
		  }

		  else if(trangthai2 == 1){
			//#3 quay goc on donh banh xe trong 2s
			RotatePid = 0;
			ControlDriver(0, 1, 0, 74, 0, 1, 0, 74, 0, 1, 0, 74);
			osDelay(2000);
			//#4 chay theo goc -90
			goc_target = GocRobot;
			batthanh();
			goc_target2 = -90;
			RotatePid = 1;
			}
			trangthai2 ++;
			DangThucThi = 1;
		}
////
////	  /*Nhấn nút F3*/
	if(DataTayGame[7] == 32 && !DangThucThi){
		step = 2;
		forward = 0;
		RotatePid = 0;
        goc_target = -90;
		ControlDriver(0, 1, 0, 600, 0, 1, 0, 600, 0, 1, 0, 600);
		osDelay(2000);
		goc_target = pre_t;
		v_t = 35;
		forward = 3 ;
		osDelay(2000);
		batcot();
		ControlDriver(0, 1, 0, 600, 0, 1, 0, 600, 0, 1, 0, 600);
		 antinoise = 0;
		DangThucThi = 1;
	}
////
//	  /*Nhấn nút F4*/
		if(DataTayGame[7] == 16 && !DangThucThi){
			if(switchmode == 0){
			forward = 0;
			RotatePid = 0;
			ControlDriver(0, 1, 0, 600, 0, 1, 0, 600, 0, 1, 0, 600);
			osDelay(1000);
			goc_target = pre_t;
			v_t = 22;
			forward = 3 ;
			osDelay(800);
			v_t = 0;
			}
			else if(switchmode == 1){
				fuzzy = 1;
				forward = 0;
				RotatePid = 0;
				ControlDriver(0, 1, 0, 200, 0, -1, 0, 400, 0, 1, 0, 600);
				osDelay(1000);
				goc_target2 +=1;
				RotatePid = 1;
			}
			else if (switchmode == 2){
				forward = 0;
				RotatePid = 0;
				ControlDriver(0, 1, 0, 300, 0, 1, 0, 300, 0, 1, 0, 300);
				osDelay(1000);
				goc_target = pre_t;
				v_t = 22;
				forward = 5 ;
				osDelay(800);
				v_t = 0;

			}

			DangThucThi = 1;
		}
//

	  /*Nhấn nút F5*/
	  if(DataTayGame[7] == 8 && !DangThucThi){
		  ControlDriver(0, 1, 0, 200, 0, -1, 0, 400, 0, 1, 0, 600);
		  forward =0 ;
		  RotatePid = 0;
		  ii++;
		  if(ii>2){ii = 1;}
		  if(ii%2 == 1){RotatePid = 0;}
		  else if(ii == 2){goc_target2 = -20; pre_t = -20;}
		  RotatePid = 1;

	  	  DangThucThi = 1;
	  }
//
	  /*Nhấn nút F8*/
	  if(DataTayGame[7] == 4 && !DangThucThi){
		  if(switchmode == 0){
			forward = 0;
			RotatePid = 0;
			ControlDriver(0, 1, 0, 600, 0, 1, 0, 600, 0, 1, 0, 600);
			osDelay(1000);
			goc_target = pre_t;
			v_t = 22;
			forward = 4 ;
			osDelay(800);
			v_t = 0;
		  }else if(switchmode == 1){
			  	fuzzy = 1;
				forward = 0;
				RotatePid = 0;
				ControlDriver(0, 1, 0, 200, 0, -1, 0, 400, 0, 1, 0, 600);
				goc_target2 -=1;
				RotatePid = 1;
			}
		  else if (switchmode == 2){
				forward = 0;
				RotatePid = 0;
				ControlDriver(0, 1, 0, 300, 0, 1, 0, 300, 0, 1, 0, 300);
				osDelay(1000);
				goc_target = pre_t;
				v_t = 22;
				forward = 1 ;
				osDelay(800);
				v_t = 0;
			}

		  DangThucThi = 1;
	  }

	  if(DataTayGame[7] == 0){
		  DangThucThi = 0;
	  }

	  osDelay(1);
  }
  /* USER CODE END 5 */
}

void TaskBlinkLed(void const * argument)
{
  /* USER CODE BEGIN TaskBlinkLed */

  /* Infinite loop */
  for(;;)
  {
//	  System.CompassStatus = HAL_GPIO_ReadPin(CompassReady_GPIO_Port, CompassReady_Pin);
	  if(GocRobot != -999){
		  System.CompassStatus = 1;
		  HAL_GPIO_TogglePin(LED_GPIO_Port, LED_Pin);
		  osDelay(50);
	  }
	  else {
		  System.CompassStatus = 0;
		  HAL_GPIO_TogglePin(LED_GPIO_Port, LED_Pin);
		  osDelay(500);
	  }

  }
  /* USER CODE END TaskBlinkLed */
}

/* USER CODE BEGIN Header_TaskUART */
/**
* @brief Function implementing the myTask04 thread.
* @param argument: Not used
* @retval None
*/

char DebugStr[200];
int c;

/* USER CODE END Header_TaskUART */
void TaskUART(void const * argument)
{
  /* USER CODE BEGIN TaskUART */
  /* Infinite loop */
  for(;;)
  {
//	  driveSpeed(dir9,pwm9);
	  if(up == 1){upHandle();}
	  else if(up == 2){downHandle();}
	  else if (up == 3){uphalf();}
	  driveStep();
	  osDelay(1);

//	  snprintf(DebugStr, "{GocRobot: %d, U: %d, E: %d, EI: %d}", GocRobot, u, e, ei);
//	  HAL_UART_Transmit(&huart3, (uint8_t *) DebugStr, 199, 1000);

//	  if(ChoPhepBan){
//		  ControlGun(ModeBan);
//		  ChoPhepBan = 0;
//	  }
  }
  /* USER CODE END TaskUART */
}

void TaskXoayLaBan(void const * argument)
{
  /* USER CODE BEGIN TaskXoayLaBan */
  /* Infinite loop */
  for(;;)
  {
	  driveSpeed(dir9,pwm9);
	  HAL_ADC_Start_DMA(&hadc1, (uint32_t*)a, 1);
	  if (POS_target> 1000){
		  POS_target = 0;
	  }
	  if(forward == 1){
	  		  ControlDriver(1, -1, v_t, (300-3*e1), 1, -1, v_t, (300-3*e1), 1, -1, v_t, (300+3*e1));
	  	  }

	  else{
		  osDelay(1);
	  }
	  if(forward == 4){
		  ControlDriver(1, 1, v_t, (600+6*e1), 1, 1, v_t, (600-6*e1), 1, 1, v_t, (600));
		 osDelay(1);
	  }
	  if(RotatePid == 1){
		  ControlDriver(2, -dir2, pwm, 200,2 , dir2, pwm, 400, 2, -dir2, pwm, 600);
	  }
	  if((forward == 2)){
		  ControlDriver(1, 1, v_t, (74+1*e1), 1, 1, v_t, (74+1*e1), 1, 1, v_t, (74-1*e1));
		  osDelay(1);
	  }
	  if((forward == 3)){

	  		  ControlDriver(1, -1, v_t, (600-6*e1), 1, -1, v_t, (600+6*e1), 1, -1, v_t, (600));
	  		  osDelay(1);
	  	  }
	  if(forward == 5){
	  	 	  		  ControlDriver(1, 1, v_t, (300+3*e1), 1, 1, v_t, (300+3*e1), 1, 1, v_t, (300-3*e1));
	  	 	  		  osDelay(1);
	  	 	  	  }

  }
  /* USER CODE END TaskXoayLaBan */
}

void HAL_TIM_PeriodElapsedCallback(TIM_HandleTypeDef *htim)
{
  if (htim->Instance == TIM14) {
    HAL_IncTick();
  }
  /* USER CODE BEGIN Callback 1 */
  if (htim->Instance == TIM2) {
	  goc_hientai = GocRobot;
	    e1 = goc_target - goc_hientai;
	    Pid_cal();
	    PID();
    }
//  if (htim->Instance == TIM6) {
//      t+=100;
//    }

  /* USER CODE END Callback 1 */
}

void Error_Handler(void)
{
  __disable_irq();
  while (1)
  {
  }
}
